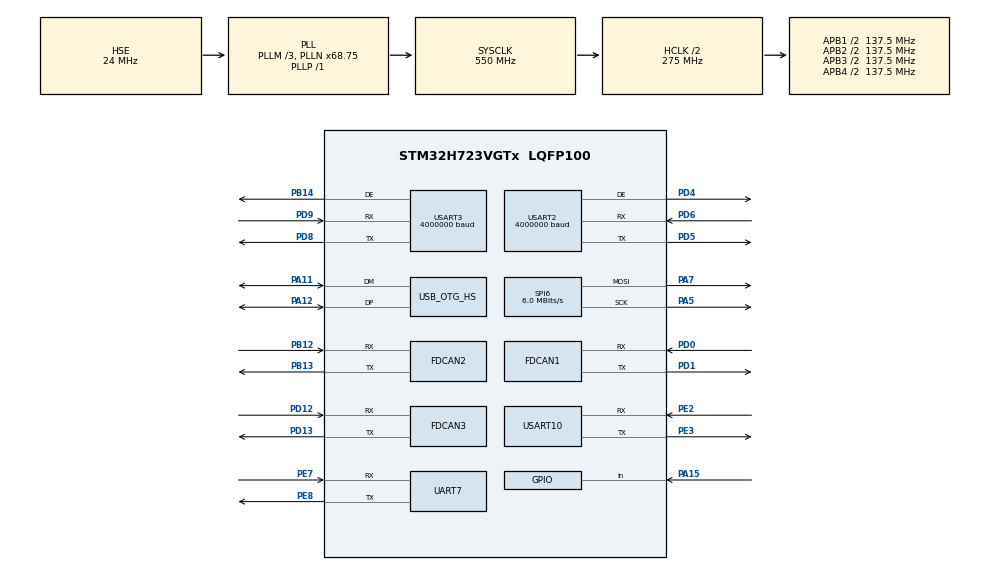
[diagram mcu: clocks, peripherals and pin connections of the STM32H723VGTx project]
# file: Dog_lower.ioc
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CORTEX_M7.AccessPermission_Spec=MPU_REGION_FULL_ACCESS
CORTEX_M7.BaseAddress_Spec=0x30000000
CORTEX_M7.CPU_DCache=Enabled
CORTEX_M7.CPU_ICache=Enabled
CORTEX_M7.DisableExec_Spec=MPU_INSTRUCTION_ACCESS_ENABLE
CORTEX_M7.Enable_S-Cortex_Memory_Protection_Unit_Region1_Settings_S=__NULL
CORTEX_M7.Enable_S-Cortex_Memory_Protection_Unit_Region2_Settings_S=__NULL
CORTEX_M7.Enable_Spec=MPU_REGION_ENABLE
CORTEX_M7.IsBufferable_Spec=MPU_ACCESS_NOT_BUFFERABLE
CORTEX_M7.IsCacheable_Spec=MPU_ACCESS_NOT_CACHEABLE
CORTEX_M7.IsShareable_Spec=MPU_ACCESS_NOT_SHAREABLE
CORTEX_M7.MPU_Control=MPU_PRIVILEGED_DEFAULT
CORTEX_M7.Size_Spec=MPU_REGION_SIZE_128KB
CORTEX_M7.SubRegionDisable_Spec=0x0
CORTEX_M7.TypeExtField_Spec=MPU_TEX_LEVEL1
CORTEX_M7.default_mode_Activation=1
Dma.Request0=UART7_RX
Dma.Request1=UART7_TX
Dma.Request2=USART2_RX
Dma.Request3=USART2_TX
Dma.Request4=USART3_RX
Dma.Request5=USART3_TX
Dma.Request6=USART10_RX
Dma.Request7=USART10_TX
Dma.UART7_RX.0.Direction=DMA_PERIPH_TO_MEMORY
Dma.UART7_RX.0.EventEnable=DISABLE
Dma.UART7_RX.0.FIFOMode=DMA_FIFOMODE_DISABLE
Dma.UART7_RX.0.Instance=DMA2_Stream2
Dma.UART7_RX.0.MemDataAlignment=DMA_MDATAALIGN_BYTE
Dma.UART7_RX.0.MemInc=DMA_MINC_ENABLE
Dma.UART7_RX.0.Mode=DMA_NORMAL
Dma.UART7_RX.0.PeriphDataAlignment=DMA_PDATAALIGN_BYTE
Dma.UART7_RX.0.PeriphInc=DMA_PINC_DISABLE
Dma.UART7_RX.0.Polarity=HAL_DMAMUX_REQ_GEN_RISING
Dma.UART7_RX.0.Priority=DMA_PRIORITY_LOW
Dma.UART7_RX.0.RequestNumber=1
Dma.UART7_RX.0.SignalID=NONE
Dma.UART7_RX.0.SyncEnable=DISABLE
Dma.UART7_RX.0.SyncPolarity=HAL_DMAMUX_SYNC_NO_EVENT
Dma.UART7_RX.0.SyncRequestNumber=1
Dma.UART7_RX.0.SyncSignalID=NONE
Dma.UART7_TX.1.Direction=DMA_MEMORY_TO_PERIPH
Dma.UART7_TX.1.EventEnable=DISABLE
Dma.UART7_TX.1.FIFOMode=DMA_FIFOMODE_DISABLE
Dma.UART7_TX.1.Instance=DMA2_Stream3
Dma.UART7_TX.1.MemDataAlignment=DMA_MDATAALIGN_BYTE
Dma.UART7_TX.1.MemInc=DMA_MINC_ENABLE
Dma.UART7_TX.1.Mode=DMA_NORMAL
Dma.UART7_TX.1.PeriphDataAlignment=DMA_PDATAALIGN_BYTE
Dma.UART7_TX.1.PeriphInc=DMA_PINC_DISABLE
Dma.UART7_TX.1.Polarity=HAL_DMAMUX_REQ_GEN_RISING
Dma.UART7_TX.1.Priority=DMA_PRIORITY_LOW
Dma.UART7_TX.1.RequestNumber=1
Dma.UART7_TX.1.SignalID=NONE
Dma.UART7_TX.1.SyncEnable=DISABLE
Dma.UART7_TX.1.SyncPolarity=HAL_DMAMUX_SYNC_NO_EVENT
Dma.UART7_TX.1.SyncRequestNumber=1
Dma.UART7_TX.1.SyncSignalID=NONE
Dma.USART10_RX.6.Direction=DMA_PERIPH_TO_MEMORY
Dma.USART10_RX.6.EventEnable=DISABLE
Dma.USART10_RX.6.FIFOMode=DMA_FIFOMODE_DISABLE
Dma.USART10_RX.6.Instance=DMA2_Stream0
Dma.USART10_RX.6.MemDataAlignment=DMA_MDATAALIGN_BYTE
Dma.USART10_RX.6.MemInc=DMA_MINC_ENABLE
Dma.USART10_RX.6.Mode=DMA_NORMAL
Dma.USART10_RX.6.PeriphDataAlignment=DMA_PDATAALIGN_BYTE
Dma.USART10_RX.6.PeriphInc=DMA_PINC_DISABLE
Dma.USART10_RX.6.Polarity=HAL_DMAMUX_REQ_GEN_RISING
Dma.USART10_RX.6.Priority=DMA_PRIORITY_MEDIUM
Dma.USART10_RX.6.RequestNumber=1
Dma.USART10_RX.6.SignalID=NONE
Dma.USART10_RX.6.SyncEnable=DISABLE
Dma.USART10_RX.6.SyncPolarity=HAL_DMAMUX_SYNC_NO_EVENT
Dma.USART10_RX.6.SyncRequestNumber=1
Dma.USART10_RX.6.SyncSignalID=NONE
Dma.USART10_TX.7.Direction=DMA_MEMORY_TO_PERIPH
Dma.USART10_TX.7.EventEnable=DISABLE
Dma.USART10_TX.7.FIFOMode=DMA_FIFOMODE_DISABLE
Dma.USART10_TX.7.Instance=DMA2_Stream1
Dma.USART10_TX.7.MemDataAlignment=DMA_MDATAALIGN_BYTE
Dma.USART10_TX.7.MemInc=DMA_MINC_ENABLE
Dma.USART10_TX.7.Mode=DMA_NORMAL
Dma.USART10_TX.7.PeriphDataAlignment=DMA_PDATAALIGN_BYTE
Dma.USART10_TX.7.PeriphInc=DMA_PINC_DISABLE
Dma.USART10_TX.7.Polarity=HAL_DMAMUX_REQ_GEN_RISING
Dma.USART10_TX.7.Priority=DMA_PRIORITY_LOW
Dma.USART10_TX.7.RequestNumber=1
Dma.USART10_TX.7.SignalID=NONE
Dma.USART10_TX.7.SyncEnable=DISABLE
Dma.USART10_TX.7.SyncPolarity=HAL_DMAMUX_SYNC_NO_EVENT
Dma.USART10_TX.7.SyncRequestNumber=1
Dma.USART10_TX.7.SyncSignalID=NONE
Dma.USART2_RX.2.Direction=DMA_PERIPH_TO_MEMORY
Dma.USART2_RX.2.EventEnable=DISABLE
Dma.USART2_RX.2.FIFOMode=DMA_FIFOMODE_DISABLE
Dma.USART2_RX.2.Instance=DMA1_Stream0
Dma.USART2_RX.2.MemDataAlignment=DMA_MDATAALIGN_BYTE
Dma.USART2_RX.2.MemInc=DMA_MINC_ENABLE
Dma.USART2_RX.2.Mode=DMA_NORMAL
Dma.USART2_RX.2.PeriphDataAlignment=DMA_PDATAALIGN_BYTE
Dma.USART2_RX.2.PeriphInc=DMA_PINC_DISABLE
Dma.USART2_RX.2.Polarity=HAL_DMAMUX_REQ_GEN_RISING
Dma.USART2_RX.2.Priority=DMA_PRIORITY_VERY_HIGH
Dma.USART2_RX.2.RequestNumber=1
Dma.USART2_RX.2.SignalID=NONE
Dma.USART2_RX.2.SyncEnable=DISABLE
Dma.USART2_RX.2.SyncPolarity=HAL_DMAMUX_SYNC_NO_EVENT
Dma.USART2_RX.2.SyncRequestNumber=1
Dma.USART2_RX.2.SyncSignalID=NONE
Dma.USART2_TX.3.Direction=DMA_MEMORY_TO_PERIPH
Dma.USART2_TX.3.EventEnable=DISABLE
Dma.USART2_TX.3.FIFOMode=DMA_FIFOMODE_DISABLE
Dma.USART2_TX.3.Instance=DMA1_Stream1
Dma.USART2_TX.3.MemDataAlignment=DMA_MDATAALIGN_BYTE
Dma.USART2_TX.3.MemInc=DMA_MINC_ENABLE
Dma.USART2_TX.3.Mode=DMA_NORMAL
Dma.USART2_TX.3.PeriphDataAlignment=DMA_PDATAALIGN_BYTE
Dma.USART2_TX.3.PeriphInc=DMA_PINC_DISABLE
Dma.USART2_TX.3.Polarity=HAL_DMAMUX_REQ_GEN_RISING
Dma.USART2_TX.3.Priority=DMA_PRIORITY_VERY_HIGH
Dma.USART2_TX.3.RequestNumber=1
Dma.USART2_TX.3.SignalID=NONE
Dma.USART2_TX.3.SyncEnable=DISABLE
Dma.USART2_TX.3.SyncPolarity=HAL_DMAMUX_SYNC_NO_EVENT
Dma.USART2_TX.3.SyncRequestNumber=1
Dma.USART2_TX.3.SyncSignalID=NONE
Dma.USART3_RX.4.Direction=DMA_PERIPH_TO_MEMORY
Dma.USART3_RX.4.EventEnable=DISABLE
Dma.USART3_RX.4.FIFOMode=DMA_FIFOMODE_DISABLE
Dma.USART3_RX.4.Instance=DMA1_Stream2
Dma.USART3_RX.4.MemDataAlignment=DMA_MDATAALIGN_BYTE
Dma.USART3_RX.4.MemInc=DMA_MINC_ENABLE
Dma.USART3_RX.4.Mode=DMA_NORMAL
Dma.USART3_RX.4.PeriphDataAlignment=DMA_PDATAALIGN_BYTE
Dma.USART3_RX.4.PeriphInc=DMA_PINC_DISABLE
Dma.USART3_RX.4.Polarity=HAL_DMAMUX_REQ_GEN_RISING
Dma.USART3_RX.4.Priority=DMA_PRIORITY_VERY_HIGH
Dma.USART3_RX.4.RequestNumber=1
Dma.USART3_RX.4.SignalID=NONE
Dma.USART3_RX.4.SyncEnable=DISABLE
Dma.USART3_RX.4.SyncPolarity=HAL_DMAMUX_SYNC_NO_EVENT
Dma.USART3_RX.4.SyncRequestNumber=1
Dma.USART3_RX.4.SyncSignalID=NONE
Dma.USART3_TX.5.Direction=DMA_MEMORY_TO_PERIPH
Dma.USART3_TX.5.EventEnable=DISABLE
Dma.USART3_TX.5.FIFOMode=DMA_FIFOMODE_DISABLE
Dma.USART3_TX.5.Instance=DMA1_Stream3
Dma.USART3_TX.5.MemDataAlignment=DMA_MDATAALIGN_BYTE
Dma.USART3_TX.5.MemInc=DMA_MINC_ENABLE
Dma.USART3_TX.5.Mode=DMA_NORMAL
Dma.USART3_TX.5.PeriphDataAlignment=DMA_PDATAALIGN_BYTE
Dma.USART3_TX.5.PeriphInc=DMA_PINC_DISABLE
Dma.USART3_TX.5.Polarity=HAL_DMAMUX_REQ_GEN_RISING
Dma.USART3_TX.5.Priority=DMA_PRIORITY_VERY_HIGH
Dma.USART3_TX.5.RequestNumber=1
Dma.USART3_TX.5.SignalID=NONE
Dma.USART3_TX.5.SyncEnable=DISABLE
Dma.USART3_TX.5.SyncPolarity=HAL_DMAMUX_SYNC_NO_EVENT
Dma.USART3_TX.5.SyncRequestNumber=1
Dma.USART3_TX.5.SyncSignalID=NONE
FDCAN1.CalculateBaudRateNominal=1000000
FDCAN1.CalculateTimeBitNominal=1000
FDCAN1.CalculateTimeQuantumNominal=100.0
FDCAN1.ExtFiltersNbr=1
FDCAN1.NominalPrescaler=12
FDCAN1.NominalTimeSeg1=6
FDCAN1.NominalTimeSeg2=3
FDCAN1.RxFifo0ElmtsNbr=32
FDCAN1.StdFiltersNbr=1
FDCAN1.TxBuffersNbr=0
FDCAN1.TxFifoQueueElmtsNbr=32
FDCAN2.CalculateBaudRateNominal=1000000
FDCAN2.CalculateTimeBitNominal=1000
FDCAN2.CalculateTimeQuantumNominal=100.0
FDCAN2.NominalPrescaler=12
FDCAN2.NominalTimeSeg1=6
FDCAN2.NominalTimeSeg2=3
FDCAN2.TxBuffersNbr=32
FDCAN3.CalculateBaudRateNominal=1000000
FDCAN3.CalculateTimeBitNominal=1000
FDCAN3.CalculateTimeQuantumNominal=100.0
FDCAN3.NominalPrescaler=12
FDCAN3.NominalTimeSeg1=6
FDCAN3.NominalTimeSeg2=3
FDCAN3.TxBuffersNbr=32
FREERTOS.INCLUDE_uxTaskGetStackHighWaterMark=1
FREERTOS.INCLUDE_vTaskDelayUntil=1
FREERTOS.Tasks01=defaultTask,0,128,StartDefaultTask,Default,NULL,Dynamic,NULL,NULL
Mcu.Family=STM32H7
Mcu.Name=STM32H723VGTx
Mcu.Package=LQFP100
NVIC.DMA1_Stream0_IRQn=true\:5\:0\:false\:false\:true\:true\:false\:true\:true
NVIC.DMA1_Stream1_IRQn=true\:5\:0\:false\:false\:true\:true\:false\:true\:true
NVIC.DMA1_Stream2_IRQn=true\:5\:0\:false\:false\:true\:false\:false\:true\:true
NVIC.DMA1_Stream3_IRQn=true\:5\:0\:false\:false\:true\:false\:false\:true\:true
NVIC.DMA2_Stream0_IRQn=true\:5\:0\:false\:false\:true\:false\:false\:true\:true
NVIC.DMA2_Stream1_IRQn=true\:5\:0\:false\:false\:true\:false\:false\:true\:true
NVIC.DMA2_Stream2_IRQn=true\:5\:0\:false\:false\:true\:false\:false\:true\:true
NVIC.DMA2_Stream3_IRQn=true\:5\:0\:false\:false\:true\:false\:false\:true\:true
NVIC.FDCAN1_IT0_IRQn=true\:5\:0\:false\:false\:true\:true\:true\:true\:true
NVIC.OTG_HS_EP1_IN_IRQn=true\:7\:0\:true\:false\:true\:true\:true\:true\:true
NVIC.OTG_HS_EP1_OUT_IRQn=true\:7\:0\:true\:false\:true\:true\:true\:true\:true
NVIC.OTG_HS_IRQn=true\:7\:0\:true\:false\:true\:true\:true\:true\:true
NVIC.PriorityGroup=NVIC_PRIORITYGROUP_4
NVIC.SPI6_IRQn=true\:5\:0\:false\:false\:true\:true\:true\:true\:true
NVIC.TIM7_IRQn=true\:15\:0\:false\:false\:true\:false\:false\:true\:true
NVIC.TIM8_UP_TIM13_IRQn=true\:5\:0\:false\:false\:true\:true\:true\:true\:true
NVIC.TimeBase=TIM7_IRQn
NVIC.TimeBaseIP=TIM7
NVIC.UART7_IRQn=true\:5\:0\:false\:false\:true\:true\:false\:true\:true
NVIC.USART10_IRQn=true\:5\:0\:false\:false\:true\:true\:true\:true\:true
NVIC.USART2_IRQn=true\:5\:0\:false\:false\:true\:true\:false\:true\:true
NVIC.USART3_IRQn=true\:5\:0\:false\:false\:true\:true\:true\:true\:true
PA11.Mode=Device_Only_FS
PA11.Signal=USB_OTG_HS_DM
PA12.Mode=Device_Only_FS
PA12.Signal=USB_OTG_HS_DP
PA13(JTMS/SWDIO).Mode=Serial_Wire
PA13(JTMS/SWDIO).Signal=DEBUG_JTMS-SWDIO
PA14(JTCK/SWCLK).Mode=Serial_Wire
PA14(JTCK/SWCLK).Signal=DEBUG_JTCK-SWCLK
PA15(JTDI).GPIO_PuPd=GPIO_PULLUP
PA15(JTDI).Signal=GPIO_Input
PA5.Mode=TX_Only_Simplex_Unidirect_Master
PA5.Signal=SPI6_SCK
PA7.Mode=TX_Only_Simplex_Unidirect_Master
PA7.Signal=SPI6_MOSI
PB12.Mode=FDCAN_Activate
PB12.Signal=FDCAN2_RX
PB13.Mode=FDCAN_Activate
PB13.Signal=FDCAN2_TX
PB14.GPIO_Speed=GPIO_SPEED_FREQ_VERY_HIGH
PB14.Mode=Hardware Flow Control (RS485)
PB14.Signal=USART3_DE
PC15-OSC32_OUT.Signal=RCC_OSC32_OUT
PD0.Mode=FDCAN_Activate
PD0.Signal=FDCAN1_RX
PD1.Mode=FDCAN_Activate
PD1.Signal=FDCAN1_TX
PD12.Mode=FDCAN_Activate
PD12.Signal=FDCAN3_RX
PD13.Mode=FDCAN_Activate
PD13.Signal=FDCAN3_TX
PD4.GPIO_Speed=GPIO_SPEED_FREQ_VERY_HIGH
PD4.Mode=Hardware Flow Control (RS485)
PD4.Signal=USART2_DE
PD5.GPIO_Speed=GPIO_SPEED_FREQ_VERY_HIGH
PD5.Mode=Asynchronous
PD5.Signal=USART2_TX
PD6.GPIO_Speed=GPIO_SPEED_FREQ_VERY_HIGH
PD6.Mode=Asynchronous
PD6.Signal=USART2_RX
PD8.GPIO_Speed=GPIO_SPEED_FREQ_VERY_HIGH
PD8.Mode=Asynchronous
PD8.Signal=USART3_TX
PD9.GPIO_Speed=GPIO_SPEED_FREQ_VERY_HIGH
PD9.Mode=Asynchronous
PD9.Signal=USART3_RX
PE2.Mode=Asynchronous
PE2.Signal=USART10_RX
PE3.Mode=Asynchronous
PE3.Signal=USART10_TX
PE7.Mode=Asynchronous
PE7.Signal=UART7_RX
PE8.Mode=Asynchronous
PE8.Signal=UART7_TX
PH0-OSC_IN.Mode=HSE-External-Oscillator
PH0-OSC_IN.Signal=RCC_OSC_IN
PH1-OSC_OUT.Mode=HSE-External-Oscillator
PH1-OSC_OUT.Signal=RCC_OSC_OUT
ProjectManager.HeapSize=0x200
ProjectManager.StackSize=0x800
ProjectManager.TargetToolchain=MDK-ARM V5.32
RCC.ADCFreq_Value=240000000
RCC.APB1Freq_Value=137500000
RCC.APB2Freq_Value=137500000
RCC.APB3Freq_Value=137500000
RCC.APB4Freq_Value=137500000
RCC.CortexFreq_Value=550000000
RCC.D1PPRE=RCC_APB3_DIV2
RCC.D2PPRE1=RCC_APB1_DIV2
RCC.D2PPRE2=RCC_APB2_DIV2
RCC.D3PPRE=RCC_APB4_DIV2
RCC.DIVM1=3
RCC.DIVM2=2
RCC.DIVM3=2
RCC.DIVN1=68
RCC.DIVN2=40
RCC.DIVN3=16
RCC.DIVP1=1
RCC.DIVQ1=4
RCC.DIVQ2=4
RCC.DIVQ3=4
RCC.FDCANCLockSelection=RCC_FDCANCLKSOURCE_PLL2
RCC.HCLKFreq_Value=275000000
RCC.HPRE=RCC_HCLK_DIV2
RCC.HSE_VALUE=24000000
RCC.PLL2FRACN=0
RCC.PLL3FRACN=0
RCC.PLLFRACN=6144
RCC.PLLSourceVirtual=RCC_PLLSOURCE_HSE
RCC.PWR_Regulator_Voltage_Scale=PWR_REGULATOR_VOLTAGE_SCALE0
RCC.SPI6CLockSelection=RCC_SPI6CLKSOURCE_HSE
RCC.SYSCLKFreq_VALUE=550000000
RCC.SYSCLKSource=RCC_SYSCLKSOURCE_PLLCLK
RCC.SupplySource=PWR_LDO_SUPPLY
RCC.USBCLockSelection=RCC_USBCLKSOURCE_PLL3
RCC.USBFreq_Value=48000000
SPI6.BaudRatePrescaler=SPI_BAUDRATEPRESCALER_4
SPI6.CLKPhase=SPI_PHASE_2EDGE
SPI6.CalculateBaudRate=6.0 MBits/s
SPI6.DataSize=SPI_DATASIZE_8BIT
SPI6.Direction=SPI_DIRECTION_2LINES_TXONLY
SPI6.Mode=SPI_MODE_MASTER
SPI6.VirtualType=VM_MASTER
STMicroelectronics.X-CUBE-ALGOBUILD.1.4.0.LibraryCcDSPOoLibraryJjDSPOoLibrary=true
TIM13.Period=1000-1
TIM13.Prescaler=275-1
USART10.VirtualMode=VM_ASYNC
USART2.BaudRate=4000000
USART2.VirtualMode-Asynchronous=VM_ASYNC
USART2.VirtualMode-Hardware\ Flow\ Control\ (RS485)=VM_ASYNC
USART3.BaudRate=4000000
USART3.VirtualMode-Asynchronous=VM_ASYNC
USART3.VirtualMode-Hardware\ Flow\ Control\ (RS485)=VM_ASYNC
USB_DEVICE.CLASS_NAME_HS=CDC
USB_DEVICE.VirtualMode=Cdc
USB_DEVICE.VirtualModeHS=Cdc_HS
USB_OTG_HS.VirtualMode-Device_Only_FS=Device_Only_FS
USB_OTG_HS.dma_enable-Device_Only_FS=DISABLE
VP_FREERTOS_VS_CMSIS_V1.Mode=CMSIS_V1
VP_MEMORYMAP_VS_MEMORYMAP.Mode=CurAppReg
VP_STMicroelectronics.X-CUBE-ALGOBUILD_VS_DSPOoLibraryJjLibrary_1.4.0_1.4.0.Mode=DSPOoLibraryJjLibrary
VP_SYS_VS_tim7.Mode=TIM7
VP_TIM13_VS_ClockSourceINT.Mode=Enable_Timer
VP_USB_DEVICE_VS_USB_DEVICE_CDC_HS.Mode=CDC_HS
board=custom

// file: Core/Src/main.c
/* USER CODE BEGIN Header */
/**
  ******************************************************************************
  * @file           : main.c
  * @brief          : Main program body
  ******************************************************************************
  * @attention
  *
  * Copyright (c) 2026 STMicroelectronics.
  * All rights reserved.
  *
  * This software is licensed under terms that can be found in the LICENSE file
  * in the root directory of this software component.
  * If no LICENSE file comes with this software, it is provided AS-IS.
  *
  ******************************************************************************
  */
/* USER CODE END Header */
#include "main.h"
#include "cmsis_os.h"
#include "dma.h"
#include "fdcan.h"
#include "spi.h"
#include "tim.h"
#include "usart.h"
#include "usb_device.h"
#include "gpio.h"

/* USER CODE BEGIN Includes */
#include "run.h"
#include "FDCANDriver.h"
/* USER CODE END Includes */

/* USER CODE BEGIN PV */
extern DMA_HandleTypeDef hdma_usart6_rx;
extern uint8_t remote_control_buf[12];
/* USER CODE END PV */

void SystemClock_Config(void);
void PeriphCommonClock_Config(void);
static void MPU_Config(void);
void MX_FREERTOS_Init(void);

int main(void)
{

  /* MPU Configuration--------------------------------------------------------*/
  MPU_Config();

  /* Enable the CPU Cache */

  /* Enable I-Cache---------------------------------------------------------*/
  SCB_EnableICache();

  /* Enable D-Cache---------------------------------------------------------*/
  SCB_EnableDCache();

  /* MCU Configuration--------------------------------------------------------*/

  /* Reset of all peripherals, Initializes the Flash interface and the Systick. */
  HAL_Init();

  /* Configure the system clock */
  SystemClock_Config();

  /* Configure the peripherals common clocks */
  PeriphCommonClock_Config();

  /* Initialize all configured peripherals */
  MX_GPIO_Init();
  MX_DMA_Init();
  MX_SPI6_Init();
  MX_UART7_Init();
  MX_USART2_UART_Init();
  MX_USART3_UART_Init();
  MX_USART10_UART_Init();
  MX_FDCAN1_Init();
  MX_FDCAN2_Init();
  MX_FDCAN3_Init();
  MX_TIM13_Init();

  /* Call init function for freertos objects (in cmsis_os2.c) */
  MX_FREERTOS_Init();

  /* Start scheduler */
  osKernelStart();

  /* We should never get here as control is now taken by the scheduler */

  /* Infinite loop */
  while (1)
  {

  }
}

void SystemClock_Config(void)
{
  RCC_OscInitTypeDef RCC_OscInitStruct = {0};
  RCC_ClkInitTypeDef RCC_ClkInitStruct = {0};

  /** Supply configuration update enable
  */
  HAL_PWREx_ConfigSupply(PWR_LDO_SUPPLY);

  /** Configure the main internal regulator output voltage
  */
  __HAL_PWR_VOLTAGESCALING_CONFIG(PWR_REGULATOR_VOLTAGE_SCALE0);

  while(!__HAL_PWR_GET_FLAG(PWR_FLAG_VOSRDY)) {}

  /** Initializes the RCC Oscillators according to the specified parameters
  * in the RCC_OscInitTypeDef structure.
  */
  RCC_OscInitStruct.OscillatorType = RCC_OSCILLATORTYPE_HSE;
  RCC_OscInitStruct.HSEState = RCC_HSE_ON;
  RCC_OscInitStruct.PLL.PLLState = RCC_PLL_ON;
  RCC_OscInitStruct.PLL.PLLSource = RCC_PLLSOURCE_HSE;
  RCC_OscInitStruct.PLL.PLLM = 3;
  RCC_OscInitStruct.PLL.PLLN = 68;
  RCC_OscInitStruct.PLL.PLLP = 1;
  RCC_OscInitStruct.PLL.PLLQ = 4;
  RCC_OscInitStruct.PLL.PLLR = 2;
  RCC_OscInitStruct.PLL.PLLRGE = RCC_PLL1VCIRANGE_3;
  RCC_OscInitStruct.PLL.PLLVCOSEL = RCC_PLL1VCOWIDE;
  RCC_OscInitStruct.PLL.PLLFRACN = 6144;
  if (HAL_RCC_OscConfig(&RCC_OscInitStruct) != HAL_OK)
  {
    Error_Handler();
  }

  /** Initializes the CPU, AHB and APB buses clocks
  */
  RCC_ClkInitStruct.ClockType = RCC_CLOCKTYPE_HCLK|RCC_CLOCKTYPE_SYSCLK
                              |RCC_CLOCKTYPE_PCLK1|RCC_CLOCKTYPE_PCLK2
                              |RCC_CLOCKTYPE_D3PCLK1|RCC_CLOCKTYPE_D1PCLK1;
  RCC_ClkInitStruct.SYSCLKSource = RCC_SYSCLKSOURCE_PLLCLK;
  RCC_ClkInitStruct.SYSCLKDivider = RCC_SYSCLK_DIV1;
  RCC_ClkInitStruct.AHBCLKDivider = RCC_HCLK_DIV2;
  RCC_ClkInitStruct.APB3CLKDivider = RCC_APB3_DIV2;
  RCC_ClkInitStruct.APB1CLKDivider = RCC_APB1_DIV2;
  RCC_ClkInitStruct.APB2CLKDivider = RCC_APB2_DIV2;
  RCC_ClkInitStruct.APB4CLKDivider = RCC_APB4_DIV2;

  if (HAL_RCC_ClockConfig(&RCC_ClkInitStruct, FLASH_LATENCY_3) != HAL_OK)
  {
    Error_Handler();
  }
}

void PeriphCommonClock_Config(void)
{
  RCC_PeriphCLKInitTypeDef PeriphClkInitStruct = {0};

  /** Initializes the peripherals clock
  */
  PeriphClkInitStruct.PeriphClockSelection = RCC_PERIPHCLK_FDCAN;
  PeriphClkInitStruct.PLL2.PLL2M = 2;
  PeriphClkInitStruct.PLL2.PLL2N = 40;
  PeriphClkInitStruct.PLL2.PLL2P = 2;
  PeriphClkInitStruct.PLL2.PLL2Q = 4;
  PeriphClkInitStruct.PLL2.PLL2R = 2;
  PeriphClkInitStruct.PLL2.PLL2RGE = RCC_PLL2VCIRANGE_3;
  PeriphClkInitStruct.PLL2.PLL2VCOSEL = RCC_PLL2VCOWIDE;
  PeriphClkInitStruct.PLL2.PLL2FRACN = 0;
  PeriphClkInitStruct.FdcanClockSelection = RCC_FDCANCLKSOURCE_PLL2;
  if (HAL_RCCEx_PeriphCLKConfig(&PeriphClkInitStruct) != HAL_OK)
  {
    Error_Handler();
  }
}

/* USER CODE BEGIN 4 */
extern uint32_t bad_Motor;
extern uint32_t reset_uart_front;
extern uint32_t reset_uart_back;
extern MotorStatePack_t legs_state;
uint8_t tim_reset = 0;
/* USER CODE END 4 */

 /* MPU Configuration */

void MPU_Config(void)
{
  MPU_Region_InitTypeDef MPU_InitStruct = {0};

  /* Disables the MPU */
  HAL_MPU_Disable();

  /** Initializes and configures the Region and the memory to be protected
  */
  MPU_InitStruct.Enable = MPU_REGION_ENABLE;
  MPU_InitStruct.Number = MPU_REGION_NUMBER0;
  MPU_InitStruct.BaseAddress = 0x30000000;
  MPU_InitStruct.Size = MPU_REGION_SIZE_128KB;
  MPU_InitStruct.SubRegionDisable = 0x0;
  MPU_InitStruct.TypeExtField = MPU_TEX_LEVEL1;
  MPU_InitStruct.AccessPermission = MPU_REGION_FULL_ACCESS;
  MPU_InitStruct.DisableExec = MPU_INSTRUCTION_ACCESS_ENABLE;
  MPU_InitStruct.IsShareable = MPU_ACCESS_NOT_SHAREABLE;
  MPU_InitStruct.IsCacheable = MPU_ACCESS_NOT_CACHEABLE;
  MPU_InitStruct.IsBufferable = MPU_ACCESS_NOT_BUFFERABLE;

  HAL_MPU_ConfigRegion(&MPU_InitStruct);
  /* Enables the MPU */
  HAL_MPU_Enable(MPU_PRIVILEGED_DEFAULT);

}

void HAL_TIM_PeriodElapsedCallback(TIM_HandleTypeDef *htim)
{
  /* USER CODE BEGIN Callback 0 */
  if(htim->Instance==TIM13)
	{
    if((bad_Motor & 0x0fff) != 0) tim_reset++;
    else tim_reset = 0;
    if(tim_reset > 30 && tim_reset < 50)
    {
      if((bad_Motor & 0x003F) != 0) reset_uart_front = 1;
      if((bad_Motor & 0x0FC0) != 0) reset_uart_back = 1;
    }
    else if(tim_reset > 50) legs_state.watch_dog = bad_Motor;
	}
  /* USER CODE END Callback 0 */
  if (htim->Instance == TIM7)
  {
    HAL_IncTick();
  }
}

void Error_Handler(void)
{
  __disable_irq();
  while (1)
  {
  }
}

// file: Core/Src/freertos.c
/* USER CODE BEGIN Header */
/**
  ******************************************************************************
  * File Name          : freertos.c
  * Description        : Code for freertos applications
  ******************************************************************************
  * @attention
  *
  * Copyright (c) 2026 STMicroelectronics.
  * All rights reserved.
  *
  * This software is licensed under terms that can be found in the LICENSE file
  * in the root directory of this software component.
  * If no LICENSE file comes with this software, it is provided AS-IS.
  *
  ******************************************************************************
  */
/* USER CODE END Header */

#include "FreeRTOS.h"
#include "task.h"
#include "main.h"
#include "cmsis_os.h"

/* USER CODE BEGIN Includes */
#include "app_main.h"
/* USER CODE END Includes */

osThreadId defaultTaskHandle;

void StartDefaultTask(void const * argument);

extern void MX_USB_DEVICE_Init(void);
void MX_FREERTOS_Init(void); /* (MISRA C 2004 rule 8.1) */

/* GetIdleTaskMemory prototype (linked to static allocation support) */
void vApplicationGetIdleTaskMemory( StaticTask_t **ppxIdleTaskTCBBuffer, StackType_t **ppxIdleTaskStackBuffer, uint32_t *pulIdleTaskStackSize );

/* USER CODE BEGIN GET_IDLE_TASK_MEMORY */
static StaticTask_t xIdleTaskTCBBuffer;
static StackType_t xIdleStack[configMINIMAL_STACK_SIZE];

void vApplicationGetIdleTaskMemory( StaticTask_t **ppxIdleTaskTCBBuffer, StackType_t **ppxIdleTaskStackBuffer, uint32_t *pulIdleTaskStackSize )
{
  *ppxIdleTaskTCBBuffer = &xIdleTaskTCBBuffer;
  *ppxIdleTaskStackBuffer = &xIdleStack[0];
  *pulIdleTaskStackSize = configMINIMAL_STACK_SIZE;
  /* place for user code */
}
/* USER CODE END GET_IDLE_TASK_MEMORY */

void MX_FREERTOS_Init(void) {

  /* Create the thread(s) */
  /* definition and creation of defaultTask */
  osThreadDef(defaultTask, StartDefaultTask, osPriorityNormal, 0, 128);
  defaultTaskHandle = osThreadCreate(osThread(defaultTask), NULL);

}

void StartDefaultTask(void const * argument)
{
  /* init code for USB_DEVICE */
  MX_USB_DEVICE_Init();
  /* USER CODE BEGIN StartDefaultTask */
  /* Infinite loop */
  for(;;)
  {
    app_main();
    osDelay(1);
  }
  /* USER CODE END StartDefaultTask */
}
